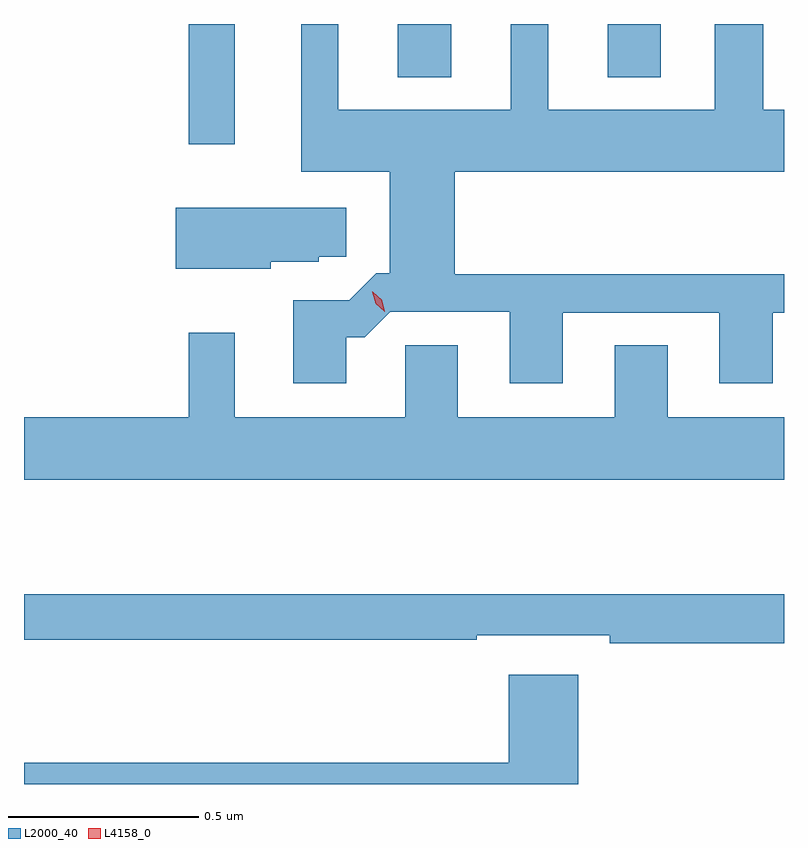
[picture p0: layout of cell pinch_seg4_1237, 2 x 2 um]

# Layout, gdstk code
import gdstk
lib = gdstk.Library(unit=1e-6, precision=1e-09)
def R(c, l, rs):  # rectangles x0, y0, x1, y1
    for r in rs: c.add(gdstk.rectangle(r[:2], r[2:], *l))
def P(c, l, *ps):  # polygons
    for p in ps: c.add(gdstk.Polygon(p, *l))
L2000_40 = (2000, 40)
L4158_0 = (4158, 0)

pinch_seg4_1237 = lib.new_cell('pinch_seg4_1237')
R(pinch_seg4_1237, L2000_40, [(383.16,796.371,383.281,796.687), (383.711,796.547,383.851,796.687), (384.263,796.547,384.403,796.687)])
P(pinch_seg4_1237, L2000_40, [(383.575,795.863),(383.624,795.863),(383.691,795.93),(384.005,795.93),(384.005,795.741),(384.145,795.741),(384.145,795.927),(384.557,795.927),(384.557,795.741),(384.697,795.741),(384.697,795.927),(384.727,795.927),(384.727,796.028),(383.861,796.028),(383.861,796.298),(384.727,796.298),(384.727,796.462),(384.673,796.462),(384.673,796.687),(384.545,796.687),(384.545,796.462),(384.106,796.462),(384.106,796.687),(384.008,796.687),(384.008,796.462),(383.554,796.462),(383.554,796.687),(383.456,796.687),(383.456,796.298),(383.69,796.298),(383.69,796.031),(383.654,796.031),(383.583,795.96),(383.435,795.96),(383.435,795.741),(383.575,795.741)],
  [(383.376,796.061),(383.502,796.061),(383.502,796.075),(383.575,796.075),(383.575,796.204),(383.126,796.204),(383.126,796.043),(383.376,796.043)],
  [(384.727,795.652),(384.421,795.652),(384.421,795.842),(384.281,795.842),(384.281,795.652),(383.869,795.652),(383.869,795.842),(383.73,795.842),(383.73,795.652),(383.281,795.652),(383.281,795.874),(383.16,795.874),(383.16,795.652),(382.727,795.652),(382.727,795.488),(384.727,795.488)],
  [(384.727,795.187),(382.727,795.187),(382.727,795.066),(383.918,795.066),(383.918,795.078),(384.268,795.078),(384.268,795.058),(384.727,795.058)],
  [(384.185,794.974),(384.002,794.974),(384.002,794.743),(382.727,794.743),(382.727,794.687),(384.185,794.687)])
P(pinch_seg4_1237, L4158_0, [(383.676,795.93),(383.676,795.93),(383.652,795.951),(383.644,795.982),(383.644,795.982),(383.645,795.982),(383.669,795.961),(383.676,795.931)])

lib.write_gds('pinch_seg4_1237.gds')
